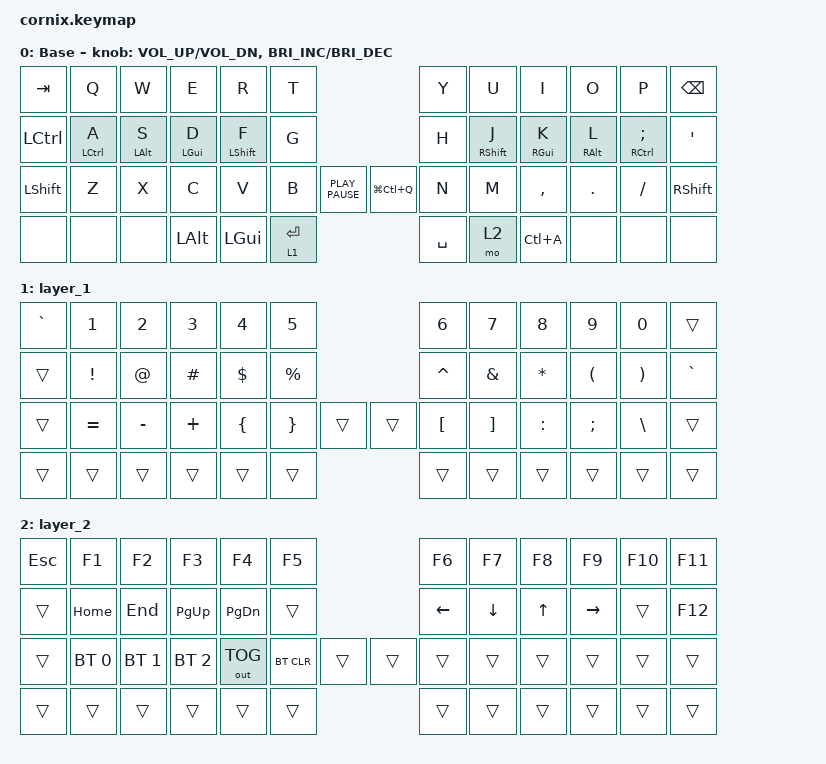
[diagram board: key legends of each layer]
/*
 * Copyright (c) 2020 The ZMK Contributors
 *
 * SPDX-License-Identifier: MIT
 */

#include "zmk-helpers/helper.h"
#include "includes/cornix54.h"

// tap windows for ctl alt and gui

#define HM_TAPPING_TERM 250
#define HM_TAPPING_REPEAT 210

// quick tapping for shift

#define HM_TAPPING_TERM_FAST 200
#define HM_PRIOR_IDLE 70
#define BASE 0
#define WIN 1
#define LOWER 2
#define RAISE 3
#define ADJUST 4
#define NAVI   5
#define NUM    6
#define DEBUG  7

// https://github.com/urob/zmk-config/tree/main#timeless-homerow-mods

#define KEYS_L LT0 LT1 LT2 LT3 LT4 LT5 LM0 LM1 LM2 LM3 LM4 LM5 LB0 LB1 LB2 LB3 LB4 LB5  // left hand
#define KEYS_R RT0 RT1 RT2 RT3 RT4 RT5 RM0 RM1 RM2 RM3 RM4 RM5 RB0 RB1 RB2 RB3 RB4 RB5  // right hand
#define THUMBS LH1 LH0 RH0 RH1
#define KEYS_T LH1 LH0 RH0 RH1
#define ZMK_POINTING_DEFAULT_SCRL_VAL 15

#include <behaviors.dtsi>
#include <dt-bindings/zmk/bt.h>
#include <dt-bindings/zmk/keys.h>
#include <dt-bindings/zmk/outputs.h>

/ {
    // Activate ADJUST layer by pressing raise and lower

    behaviors {
        hm_l: homerow_mods_left {
            compatible = "zmk,behavior-hold-tap";
            #binding-cells = <2>;
            bindings = <&kp>, <&kp>;

            flavor = "balanced";
            tapping-term-ms = <HM_TAPPING_TERM>;
            quick-tap-ms = <200>;                // repeat on tap-into-hold
            require-prior-idle-ms = <HM_PRIOR_IDLE>;
            hold-trigger-key-positions = <KEYS_R KEYS_T>;
            hold-trigger-on-release;
        };

        hm_r: homerow_mods_right {
            compatible = "zmk,behavior-hold-tap";
            #binding-cells = <2>;
            bindings = <&kp>, <&kp>;

            flavor = "balanced";
            tapping-term-ms = <HM_TAPPING_TERM>;
            quick-tap-ms = <200>;
            require-prior-idle-ms = <HM_PRIOR_IDLE>;
            hold-trigger-key-positions = <KEYS_L KEYS_T>;
            hold-trigger-on-release;
        };

        // Positional Homerow mods for shift
        // Use faster tapping term and disable some features that may
        // cause false negatives.

        hm_shift_l: hm_shift_l {
            compatible = "zmk,behavior-hold-tap";
            #binding-cells = <2>;
            bindings = <&kp>, <&kp>;

            //flavor = "balanced";

            flavor = "balanced";
            tapping-term-ms = <HM_TAPPING_TERM_FAST>;
            quick-tap-ms = <200>;
            require-prior-idle-ms = <HM_PRIOR_IDLE>;
            hold-trigger-key-positions = <KEYS_R KEYS_T>;
            hold-trigger-on-release;
        };

        hm_shift_r: hm_shift_r {
            compatible = "zmk,behavior-hold-tap";
            #binding-cells = <2>;
            bindings = <&kp>, <&kp>;

            flavor = "balanced";
            tapping-term-ms = <HM_TAPPING_TERM_FAST>;
            quick-tap-ms = <200>;
            require-prior-idle-ms = <HM_PRIOR_IDLE>;
            hold-trigger-key-positions = <KEYS_L KEYS_T>;

            // for quick tapping; shift+~

            hold-trigger-on-release;
        };

        /*
         * Non-Positional Homerow Mods
         * Used for &mm_grescm_gui behavior on left hand.
         *
         * Usage: &hm LSHFT T
         * Tap: T
         * Tap-Tap-Hold: Repeat T
         * Hold: LSHIFT
         */

        hm: homerow_mods {
            compatible = "zmk,behavior-hold-tap";
            #binding-cells = <2>;
            bindings = <&kp>, <&kp>;

            flavor = "balanced";
            tapping-term-ms = <HM_TAPPING_TERM>;
            quick-tap-ms = <200>;
        };

        lt: layer_tap {
            compatible = "zmk,behavior-hold-tap";
            #binding-cells = <2>;
            bindings = <&mo>, <&kp>;

            flavor = "hold-preferred";
            tapping-term-ms = <HM_TAPPING_TERM>;
            quick-tap-ms = <200>;
        };
    };

    conditional_layers {
        compatible = "zmk,conditional-layers";

        adjust_layer {
            if-layers = <3 1>;
            then-layer = <3>;
        };
    };

    combos {
        compatible = "zmk,combos";

        cb_ltm {
            bindings = <&kp ESC>;
            key-positions = <2 4>;
            layers = <0>;
        };

        cb_lm {
            bindings = <&kp TAB>;
            key-positions = <14 16>;
            layers = <0>;
        };

        cb_enter {
            bindings = <&kp RET>;
            key-positions = <21 19>;
            layers = <0>;
        };

        layer3 {
            bindings = <&kp N3>;
            key-positions = <5 6>;
        };

        layer4 {
            bindings = <&kp N4>;
            key-positions = <5 6>;
        };

        cb_esc {
            bindings = <&kp ESCAPE>;
            key-positions = <19 20>;
        };
    };

    keymap {
        compatible = "zmk,keymap";

        default_layer {
            display-name = "Base";

            // ------------------------------------------------------------------------------------------------------------
            // |   `   |  1  |  2  |  3   |  4   |  5   |                   |  6   |  7    |  8    |  9   |   0   |       |
            // |  ESC  |  Q  |  W  |  E   |  R   |  T   |                   |  Y   |  U    |  I    |  O   |   P   | BKSPC |
            // |  TAB  |  A  |  S  |  D   |  F   |  G   |                   |  H   |  J    |  K    |  L   |   ;   |   '   |
            // | SHIFT |  Z  |  X  |  C   |  V   |  B   |  MUTE  |  |       |  N   |  M    |  ,    |  .   |   /   | SHIFT |
            //               | GUI | ALT  | CTRL | LOWER|  ENTER |  | SPACE | RAISE| CTRL  | ALT   | GUI  |

            bindings = <
&kp TAB           &kp Q          &kp W         &kp E         &kp R                &kp T                                         &kp Y      &kp U                &kp I         &kp O         &kp P             &kp BACKSPACE
&kp LEFT_CONTROL  &hm_l LCTRL A  &hm_l LALT S  &hm_l LGUI D  &hm_shift_l LSHFT F  &kp G                                         &kp H      &hm_shift_r RSHFT J  &hm_r RGUI K  &hm_r RALT L  &hm_r RCTRL SEMI  &kp SQT
&kp LEFT_SHIFT    &kp Z          &kp X         &kp C         &kp V                &kp B        &kp K_PLAY_PAUSE  &kp LG(LC(Q))  &kp N      &kp M                &kp COMMA     &kp DOT       &kp FSLH          &kp RIGHT_SHIFT
&none             &none          &none         &kp LEFT_ALT  &kp LEFT_GUI         &lt 1 ENTER                                   &kp SPACE  &mo 2                &kp LC(A)     &none         &none             &none
            >;

            sensor-bindings =
                <&inc_dec_kp C_VOL_UP C_VOL_DN>,
                <&inc_dec_kp C_BRIGHTNESS_INC C_BRIGHTNESS_DEC>;
        };

        layer_1 {
            bindings = <
&kp GRAVE  &kp NUMBER_1     &kp NUMBER_2  &kp NUMBER_3  &kp NUMBER_4    &kp NUMBER_5                     &kp NUMBER_6      &kp NUMBER_7       &kp NUMBER_8  &kp NUMBER_9          &kp NUMBER_0           &trans
&trans     &kp EXCLAMATION  &kp AT_SIGN   &kp HASH      &kp DOLLAR      &kp PERCENT                      &kp CARET         &kp AMPERSAND      &kp ASTERISK  &kp LEFT_PARENTHESIS  &kp RIGHT_PARENTHESIS  &kp GRAVE
&trans     &kp EQUAL        &kp MINUS     &kp PLUS      &kp LEFT_BRACE  &kp RIGHT_BRACE  &trans  &trans  &kp LEFT_BRACKET  &kp RIGHT_BRACKET  &kp COLON     &kp SEMICOLON         &kp BACKSLASH          &trans
&trans     &trans           &trans        &trans        &trans          &trans                           &trans            &trans             &trans        &trans                &trans                 &trans
            >;
        };

        layer_2 {
            bindings = <
&kp ESCAPE  &kp F1        &kp F2        &kp F3        &kp F4         &kp F5                      &kp F6    &kp F7    &kp F8        &kp F9     &kp F10  &kp F11
&trans      &kp HOME      &kp END       &kp PAGE_UP   &kp PAGE_DOWN  &trans                      &kp LEFT  &kp DOWN  &kp UP_ARROW  &kp RIGHT  &trans   &kp F12
&trans      &bt BT_SEL 0  &bt BT_SEL 1  &bt BT_SEL 2  &out OUT_TOG   &bt BT_CLR  &trans  &trans  &trans    &trans    &trans        &trans     &trans   &trans
&trans      &trans        &trans        &trans        &trans         &trans                      &trans    &trans    &trans        &trans     &trans   &trans
            >;
        };
    };
};
